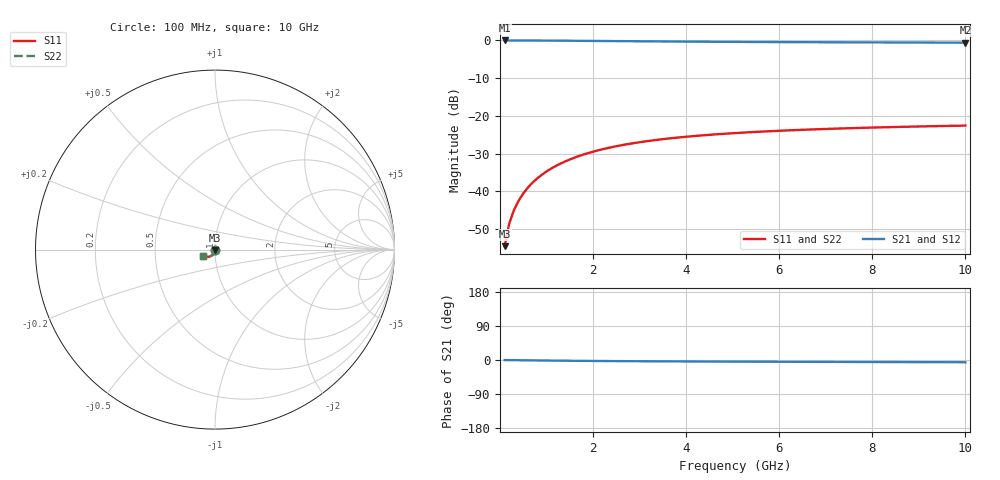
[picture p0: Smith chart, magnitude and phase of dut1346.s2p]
! Touchstone file exported from HFSS 2024.1.0
!  File:  C:/UserFiles/LocalFiles/RDL_TSV_Batchsim/temp_TSV1_1346_1780376862.aedt
!  Generated:  01:14:12 PM Jun  2, 2026
!  Design:  TSV1
!  Project:  temp_TSV1_1346_1780376862
!  Setup:  Setup1
!  Solution:  Sweep
! Variables:
!  dtsv = 12.82um
!  hbump = 3um
!  htsv = 90.78um
!  lrdl = 252.1521522um
!  p = 40
!  p1 = 40.24um
!  t = 500um
!  trdl = 3um
!  wrdl = 24.89489489um
# GHz S MA R 50.000000
! Terminal data exported
! Port[1] = TSV22_T1
! Port[2] = TSV22_T2
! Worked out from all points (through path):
!   100 points, 100 MHz to 10 GHz, reference 50 ohm
!   highest |S21| = 0.00 dB at 100 MHz (marker M1); lowest = -0.6 dB at 10 GHz (marker M2)
!   lowest |S11| = -54.5 dB at 100 MHz (marker M3), VSWR 1.00, Z = 50 - j0.188 ohm
!   |S11| at or under -10 dB: start of sweep to end of sweep
!   |S22| runs from -54.5 to -22.6 dB; largest |S21 - S12| = 7e-15
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0.1  0.001883 -88.2  0.9998 -0.1  0.9998 -0.1  0.001883 -88.2
! Gamma 0 0 0 0
! Port Impedance 50 0 50 0
0.2  0.003765 -91.0  0.9997 -0.3  0.9997 -0.3  0.003765 -91.0
0.3  0.005648 -92.9  0.9994 -0.4  0.9994 -0.4  0.005648 -92.9
0.4  0.007525 -94.5  0.9991 -0.6  0.9991 -0.6  0.007525 -94.5
0.5  0.00939 -96.1  0.9987 -0.7  0.9987 -0.7  0.00939 -96.1
0.6  0.01124 -97.6  0.9982 -0.9  0.9982 -0.9  0.01124 -97.6
0.7  0.01306 -99.1  0.9976 -1.0  0.9976 -1.0  0.01306 -99.1
0.8  0.01486 -100.5  0.9969 -1.1  0.9969 -1.1  0.01486 -100.5
0.9  0.01663 -101.9  0.9962 -1.3  0.9962 -1.3  0.01663 -101.9
1.1  0.02006 -104.7  0.9946 -1.5  0.9946 -1.5  0.02006 -104.7
1.4  0.02494 -108.5  0.9919 -1.9  0.9919 -1.9  0.02494 -108.5
1.6  0.02799 -111.0  0.9898 -2.1  0.9898 -2.1  0.02799 -111.0
1.8  0.03087 -113.3  0.9877 -2.3  0.9877 -2.3  0.03087 -113.3
2.1  0.03489 -116.6  0.9845 -2.6  0.9845 -2.6  0.03489 -116.6
2.5  0.03968 -120.5  0.9801 -2.9  0.9801 -2.9  0.03968 -120.5
2.9  0.04389 -124.0  0.9758 -3.2  0.9758 -3.2  0.04389 -124.0
3.4  0.04843 -127.9  0.9708 -3.5  0.9708 -3.5  0.04843 -127.9
4.2  0.05434 -133.0  0.9636 -3.9  0.9636 -3.9  0.05434 -133.0
5.1  0.05952 -137.6  0.9569 -4.3  0.9569 -4.3  0.05952 -137.6
6.7  0.06622 -143.7  0.9476 -4.9  0.9476 -4.9  0.06622 -143.7
8.4  0.07113 -148.3  0.9406 -5.4  0.9406 -5.4  0.07113 -148.3
10  0.07448 -151.6  0.9357 -6.0  0.9357 -6.0  0.07448 -151.6
